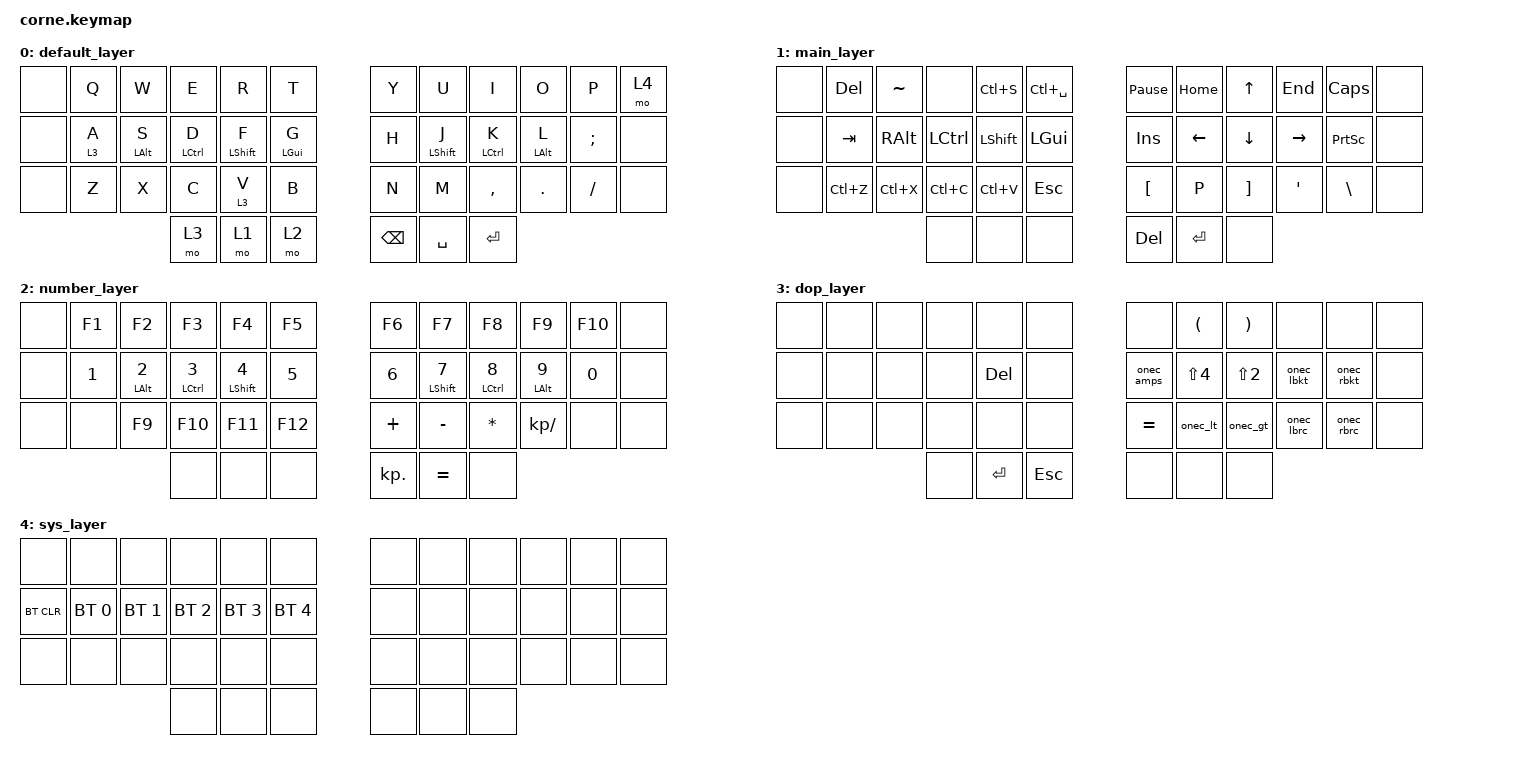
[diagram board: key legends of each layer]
/*
 * Copyright (c) 2020 The ZMK Contributors
 *
 * SPDX-License-Identifier: MIT
 */

#include <behaviors.dtsi>
#include <dt-bindings/zmk/keys.h>
#include <dt-bindings/zmk/bt.h>


&lt {
        tapping-term-ms = <300>;
};

/ {
        behaviors {
                hm: homerow_mods {
                compatible = "zmk,behavior-hold-tap";
                #binding-cells = <2>;
                tapping-term-ms = <300>;
                quick-tap-ms = <0>;
                flavor = "tap-preferred";
                bindings = <&kp>, <&kp>;
                };
        };
        macros {
                onec_lt: onec_lt {
                        compatible = "zmk,behavior-macro";
                        #binding-cells = <0>;
                        bindings
                                = <&macro_press &kp LCTRL>
                                , <&macro_press &kp LSHFT>
                                , <&macro_release &kp LSHFT>
                                , <&macro_release &kp LCTRL>
                                , <&macro_tap &kp LT>
                                , <&macro_press &kp LCTRL>
                                , <&macro_press &kp LSHFT>
                                , <&macro_release &kp LSHFT>
                                , <&macro_release &kp LCTRL>
                                ;
                };
                onec_gt: onec_gt {
                        compatible = "zmk,behavior-macro";
                        #binding-cells = <0>;
                        bindings
                                = <&macro_press &kp LCTRL>
                                , <&macro_press &kp LSHFT>
                                , <&macro_release &kp LSHFT>
                                , <&macro_release &kp LCTRL>
                                , <&macro_tap &kp GT>
                                , <&macro_press &kp LCTRL>
                                , <&macro_press &kp LSHFT>
                                , <&macro_release &kp LSHFT>
                                , <&macro_release &kp LCTRL>
                                ;
                };
                onec_amps: onec_amps {
                        compatible = "zmk,behavior-macro";
                        #binding-cells = <0>;
                        bindings
                                = <&macro_press &kp LCTRL>
                                , <&macro_press &kp LSHFT>
                                , <&macro_release &kp LSHFT>
                                , <&macro_release &kp LCTRL>
                                , <&macro_tap &kp AMPS>
                                , <&macro_press &kp LCTRL>
                                , <&macro_press &kp LSHFT>
                                , <&macro_release &kp LSHFT>
                                , <&macro_release &kp LCTRL>
                                ;
                };
               onec_lbkt: onec_lbkt {
                        compatible = "zmk,behavior-macro";
                        #binding-cells = <0>;
                        bindings
                                = <&macro_press &kp LCTRL>
                                , <&macro_press &kp LSHFT>
                                , <&macro_release &kp LSHFT>
                                , <&macro_release &kp LCTRL>
                                , <&macro_tap &kp LBKT>
                                , <&macro_press &kp LCTRL>
                                , <&macro_press &kp LSHFT>
                                , <&macro_release &kp LSHFT>
                                , <&macro_release &kp LCTRL>
                                ;
                };
               onec_rbkt: onec_rbkt {
                        compatible = "zmk,behavior-macro";
                        #binding-cells = <0>;
                        bindings
                                = <&macro_press &kp LCTRL>
                                , <&macro_press &kp LSHFT>
                                , <&macro_release &kp LSHFT>
                                , <&macro_release &kp LCTRL>
                                , <&macro_tap &kp RBKT>
                                , <&macro_press &kp LCTRL>
                                , <&macro_press &kp LSHFT>
                                , <&macro_release &kp LSHFT>
                                , <&macro_release &kp LCTRL>
                                ;
                };
               onec_lbrc: onec_lbrc {
                        compatible = "zmk,behavior-macro";
                        #binding-cells = <0>;
                        bindings
                                = <&macro_press &kp LCTRL>
                                , <&macro_press &kp LSHFT>
                                , <&macro_release &kp LSHFT>
                                , <&macro_release &kp LCTRL>
                                , <&macro_tap &kp LBRC>
                                , <&macro_press &kp LCTRL>
                                , <&macro_press &kp LSHFT>
                                , <&macro_release &kp LSHFT>
                                , <&macro_release &kp LCTRL>
                                ;
                };
               onec_rbrc: onec_rbrc {
                        compatible = "zmk,behavior-macro";
                        #binding-cells = <0>;
                        bindings
                                = <&macro_press &kp LCTRL>
                                , <&macro_press &kp LSHFT>
                                , <&macro_release &kp LSHFT>
                                , <&macro_release &kp LCTRL>
                                , <&macro_tap &kp RBRC>
                                , <&macro_press &kp LCTRL>
                                , <&macro_press &kp LSHFT>
                                , <&macro_release &kp LSHFT>
                                , <&macro_release &kp LCTRL>
                                ;
                };
          };

        keymap {
                compatible = "zmk,keymap";

                default_layer {
// -----------------------------------------------------------------------------------------
// |       | Q         | W          | E           | R            | T           |   | Y        | U            | I           | O          | P        | &mo 4 |
// |       | &lt 3 A   | ALT/S      | CTRL/D      | SHIFT/F      | GUI/G       |   | H        | SHIFT/J      | CTRL/K      | ALT/L      | ;        |       |
// |       | Z         | X          | C           | &lt 3 V      | B           |   | N        | M            | ,           | .          | /        |       |
//                                  | &mo 3       | &mo 1        | &mo 2       |   | BSPC     | SPC          | ENT         |
                        bindings = <
    &none   &kp Q     &kp W          &kp E         &kp R          &kp T             &kp Y      &kp U          &kp I         &kp O        &kp P      &mo 4
    &none   &lt 3 A   &hm LALT S     &hm LCTRL D   &hm LSHIFT F   &hm LGUI G        &kp H      &hm LSHIFT J   &hm LCTRL K   &hm LALT L   &kp SEMI   &none
    &none   &kp Z     &kp X          &kp C         &lt 3 V        &kp B             &kp N      &kp M          &kp COMMA     &kp DOT      &kp FSLH   &none
                                     &mo 3         &mo 1          &mo 2             &kp BSPC   &kp SPACE      &kp RET
                        >;
                };

                main_layer {
// -----------------------------------------------------------------------------------------------------------------------------------------------
// |       | DEL       | ~         |           | LC(S)     | LC(SPACE)     |      | PAUSE_BREAK     | HOME     | UP       | END       | CAPS      |      |
// |       | TAB       | ALT       | CTRL      | SHFT      | LGUI          |      | INS             | LFT      | DWN      | RGT       | PSCRN     |      |
// |       | LC(Z)     | LC(X)     | LC(C)     | LC(V)     | ESC           |      | [               | P        | ]        | SQT       | BSHL      |      |
//                                 |           |           |               |      | DEL             | ENT      |          |
                        bindings = <
    &none   &kp DEL     &kp TILDE   &none       &kp LC(S)   &kp LC(SPACE)          &kp PAUSE_BREAK   &kp HOME   &kp UP     &kp END     &kp CAPS    &none
    &none   &kp TAB     &kp RALT    &kp LCTRL   &kp LSHFT   &kp LGUI               &kp INS           &kp LEFT   &kp DOWN   &kp RIGHT   &kp PSCRN   &none
    &none   &kp LC(Z)   &kp LC(X)   &kp LC(C)   &kp LC(V)   &kp ESC                &kp LBKT          &kp P      &kp RBKT   &kp SQT     &kp BSLH    &none
                                    &none       &none       &none                  &kp DEL           &kp RET    &none
                        >;
                };

                number_layer {
// -----------------------------------------------------------------------------------------
// |       | F1     | F2          | F3           | F4             | F5     |   | F6         | F7            | F8           | F9           | F10       |      |
// |       | 1      | ALT/2       | CTRL/3       | SHIFT/4        | 5      |   | 6          | SHIFT/7       | LCTRL/8      | LALT/9       | 0         |      |
// |       |        | F9          | F10          | F11            | F12    |   | +          | -             | *            | /            |           |      |
//                                |              |                |        |   | .          | =             |              |
                        bindings = <
    &none   &kp F1   &kp F2        &kp F3         &kp F4           &kp F5       &kp F6       &kp F7          &kp F8         &kp F9         &kp F10     &none
    &none   &kp N1   &hm LALT N2   &hm LCTRL N3   &hm LSHIFT N4    &kp N5       &kp N6       &hm LSHIFT N7   &hm LCTRL N8   &hm LALT N9    &kp N0      &none
    &none   &none    &kp F9        &kp F10        &kp F11          &kp F12      &kp PLUS     &kp MINUS       &kp ASTRK      &kp KP_SLASH   &none       &none
                                   &none          &none            &none        &kp KP_DOT   &kp EQUAL       &none
                        >;
                };

                dop_layer {
// -----------------------------------------------------------------------------------------
// |        |      |      |      |         |         |   |            | (          | )          |            |            |      |
// |        |      |      |      | DEL     |         |   | &          | ;          | "          | [          | ]          |      |
// |        |      |      |      |         |         |   | =          | <          | >          | {          | }          |      |
//                        |      | ENT     | ESC     |   |            |            |            |
                        bindings = <
    &none    &none  &none  &none  &none     &none         &none        &kp LPAR     &kp RPAR     &none        &none        &none
    &none    &none  &none  &none  &kp DEL   &none         &onec_amps   &kp LS(N4)   &kp LS(N2)   &onec_lbkt   &onec_rbkt   &none
    &none    &none  &none  &none  &none     &none         &kp EQUAL    &onec_lt     &onec_gt     &onec_lbrc   &onec_rbrc   &none
                           &none  &kp RET   &kp ESC       &none        &none        &none
                        >;
                };

                sys_layer {
// -----------------------------------------------------------------------------------------
// |          |              |            |             |             |              |   |      |      |      |      |      |      |
// |   BTCLR  |   BT1        |   BT2      |   BT3       |   BT4       |   BT5        |   |      |      |      |      |      |      |
// |          |              |            |             |             |              |   |      |      |      |      |      |      |
//                                        |             |             |              |   |      |      |      |
                        bindings = <
   &none       &none         &none         &none         &none         &none              &none  &none  &none  &none  &none  &none
   &bt BT_CLR  &bt BT_SEL 0  &bt BT_SEL 1  &bt BT_SEL 2  &bt BT_SEL 3  &bt BT_SEL 4       &none  &none  &none  &none  &none  &none
   &none       &none         &none         &none         &none         &none              &none  &none  &none  &none  &none  &none
                                           &none         &none         &none              &none  &none  &none
                        >;
                };
        };
};
